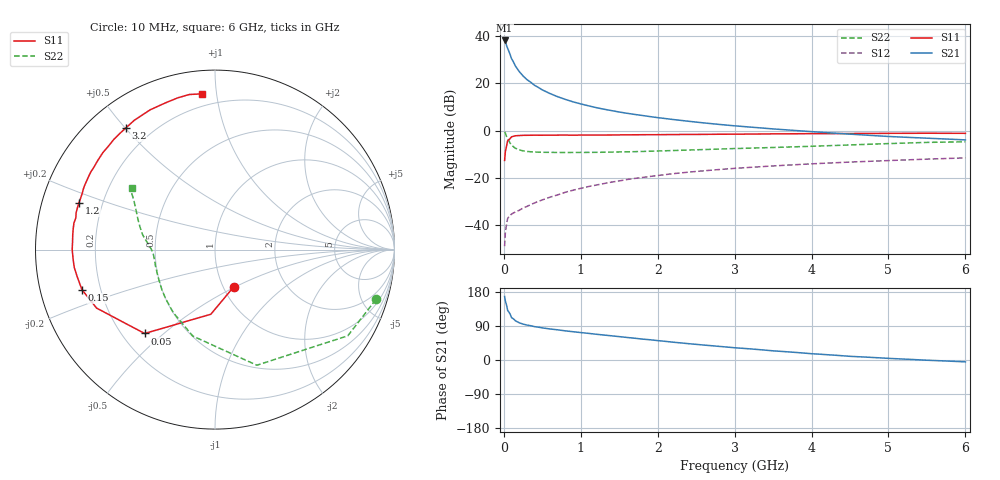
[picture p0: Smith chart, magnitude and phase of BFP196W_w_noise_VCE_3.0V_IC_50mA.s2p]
! Infineon Technologies  Discrete & RF Semiconductors
! BFP196W
! VCE =  3.0 V,  IC =  50 mA
! Common Emitter S-Parameters:  Jan 2017
# GHz  S  MA  R  50
!  f  S11  S21  S12  S22
! GHz  MAG  ANG  MAG  ANG  MAG  ANG  MAG  ANG
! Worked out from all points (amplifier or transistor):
!   77 points, 10 MHz to 6 GHz, reference 50 ohm
!   highest |S21| = 38.2 dB at 10 MHz (marker M1)
!   |S21| within 3 dB of that: start of sweep to 45.23 MHz
!   unconditionally stable (mu >= 1): 636.9 MHz to 3.307 GHz
!   at 130 MHz: K = 0.45, MSG = 31.9 dB, |S12| = -34.9 dB
!   at 2.2 GHz: K = 1.03, MAG = 10.4 dB, |S12| = -18.3 dB
!   at 6 GHz: K = 0.96, MSG = 3.8 dB, |S12| = -11.6 dB
!   lowest NFmin = 1.36 dB at 450 MHz
!   S11 on the Smith chart (normalised r, x): 10 MHz: 1.12, -0.49; 50 MHz: 0.29, -0.43; 150 MHz: 0.13, -0.15; 1.2 GHz: 0.11, +0.17; 3.2 GHz: 0.11, +0.50; 6 GHz: 0.13, +0.91
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0.01  0.2315 -62.9  81.71 167.7  0.0035 76.2  0.9391 -17.2
0.02  0.361 -93.7  76.42 155.4  0.0069 72.0  0.8821 -33.0
0.05  0.6099 -130.0  55.22 130.5  0.0137 48.1  0.6851 -70.1
0.1  0.7358 -153.7  33.59 111.8  0.0168 42.3  0.4973 -104.4
0.15  0.774 -163.2  23.48 103.5  0.0187 42.0  0.4206 -123.6
0.2  0.7826 -168.9  17.87 98.3  0.0202 43.8  0.3883 -135.0
0.25  0.7904 -172.8  14.41 94.7  0.0226 45.4  0.3703 -143.2
0.3  0.7919 -175.7  12.05 92.2  0.0244 49.1  0.3593 -148.8
0.4  0.7956 -179.9  9.105 88.0  0.029 54.4  0.3497 -156.5
0.5  0.7949 176.7  7.291 84.8  0.0336 56.7  0.3448 -161.3
0.6  0.7967 174.2  6.096 81.9  0.0384 58.7  0.3442 -164.8
0.7  0.7983 171.8  5.223 79.6  0.043 61.3  0.342 -167.4
0.9  0.7953 167.2  4.061 74.6  0.054 62.6  0.3422 -171.0
1.1  0.8011 163.1  3.344 70.3  0.0646 62.8  0.3432 -173.9
1.2  0.8016 161.0  3.065 68.0  0.0694 62.5  0.3442 -175.1
1.6  0.8098 153.5  2.325 59.5  0.0911 60.8  0.3528 -179.5
2.1  0.8181 144.2  1.794 49.2  0.116 57.2  0.3714 175.7
3.1  0.8379 127.9  1.22 30.9  0.161 48.3  0.418 166.9
3.2  0.8399 126.4  1.184 29.4  0.1649 47.4  0.4223 166.0
4.1  0.8585 113.8  0.924 15.4  0.1995 39.5  0.4686 157.2
5.1  0.8711 103.0  0.735 3.4  0.2333 31.4  0.5338 148.3
6  0.8706 94.7  0.632 -4.9  0.2622 24.5  0.5764 143.6
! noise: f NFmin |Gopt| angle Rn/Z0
0.45  1.36  0.51  -177  0.05
0.9  1.48  0.55  -171  0.07
1.9  2.3  0.69  -149  0.16
2.4  2.7  0.73  -144  0.26
